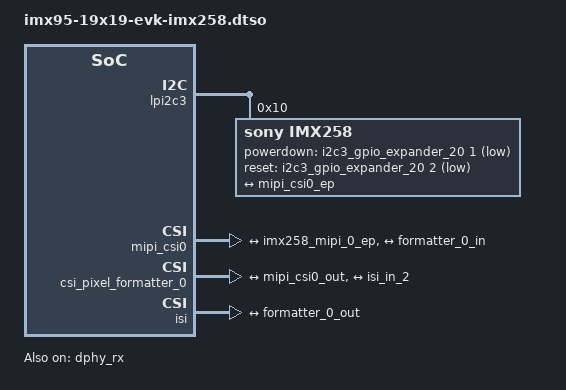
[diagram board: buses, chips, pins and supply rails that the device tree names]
// SPDX-License-Identifier: (GPL-2.0+ OR MIT)
/*
 * Copyright 2025 NXP
 */

/dts-v1/;
/plugin/;

#include "imx95-clock.h"
#include <dt-bindings/gpio/gpio.h>
#include "imx95-pinfunc.h"

&scmi_iomuxc {
	pinctrl_csi_mclk: csi_mclk {
		fsl,pins = <
			IMX95_PAD_CCM_CLKO1__CCMSRCGPCMIX_TOP_CLKO_1	0x39e
		>;
	};
};

&lpi2c3 {
	#address-cells = <1>;
	#size-cells = <0>;
	status = "okay";

	imx258: imx258_mipi@10 {
		compatible = "sony,imx258";
		reg = <0x10>;
		pinctrl-names = "default";
		pinctrl-0 = <&pinctrl_csi_mclk>;

		clocks = <&scmi_clk IMX95_CLK_CCMCKO1>;
		assigned-clocks = <&scmi_clk IMX95_CLK_CCMCKO1>;
		assigned-clock-rates = <24000000>;
		powerdown-gpios = <&i2c3_gpio_expander_20 1 GPIO_ACTIVE_LOW>;
		reset-gpios = <&i2c3_gpio_expander_20 2 GPIO_ACTIVE_LOW>;
		orientation = <2>;
		rotation = <0>;
		status = "okay";

		port {
			imx258_mipi_0_ep: endpoint {
				remote-endpoint = <&mipi_csi0_ep>;
				data-lanes = <1 2 3 4>;
				clock-lanes = <0>;
				link-frequencies = /bits/ 64 <636000000>;
				max-pixel-frequency = /bits/ 64 <500000000>;

			};
		};
	};
};

&dphy_rx {
	status = "okay";
};

&mipi_csi0 {
	status = "okay";

	ports {
		#address-cells = <1>;
		#size-cells = <0>;

		port@0 {
			reg = <0>;
			mipi_csi0_ep: endpoint {
				remote-endpoint = <&imx258_mipi_0_ep>;
				data-lanes = <1 2 3 4>;
				clock-lanes = <0>;
				csis-hs-settle = <16>;
			};
		};

		port@1 {
			reg = <1>;
				mipi_csi0_out: endpoint {
				remote-endpoint = <&formatter_0_in>;
			};
		};
	};
};

&csi_pixel_formatter_0 {
	status = "okay";

	ports {
		#address-cells = <1>;
		#size-cells = <0>;

		port@0 {
			reg = <0>;

			formatter_0_in: endpoint {
				remote-endpoint = <&mipi_csi0_out>;
			};
		};

		port@1 {
			reg = <1>;

			formatter_0_out: endpoint {
				remote-endpoint = <&isi_in_2>;
			};
		};
	};
};


&isi {
	status = "okay";

	ports {
		#address-cells = <1>;
		#size-cells = <0>;

		port@2 {
			reg = <2>;

			isi_in_2: endpoint {
				remote-endpoint = <&formatter_0_out>;
			};
		};
	};
};

